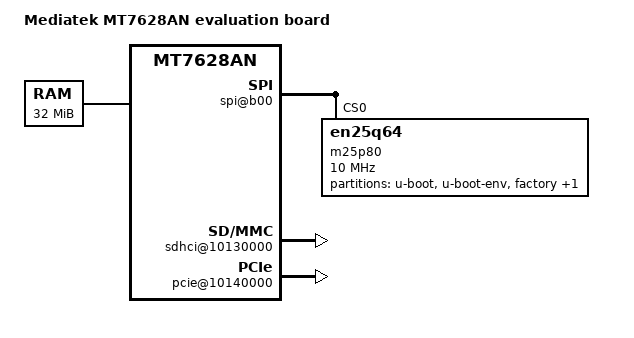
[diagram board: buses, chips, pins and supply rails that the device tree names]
/dts-v1/;

/include/ "mt7628an.dtsi"

/ {
	compatible = "mediatek,mt7628an-eval-board", "mediatek,mt7628an-soc";
	model = "Mediatek MT7628AN evaluation board";

	memory@0 {
		device_type = "memory";
		reg = <0x0 0x2000000>;
	};

	chosen {
		bootargs = "console=ttyS0,57600 init=/init";
	};

	palmbus@10000000 {
		spi@b00 {
			status = "okay";

			m25p80@0 {
				#address-cells = <1>;
				#size-cells = <1>;
				compatible = "en25q64";
				reg = <0 0>;
				linux,modalias = "m25p80", "en25q64";
				spi-max-frequency = <10000000>;
				m25p,chunked-io = <32>;

				partition@0 {
					label = "u-boot";
					reg = <0x0 0x30000>;
					read-only;
				};

				partition@30000 {
					label = "u-boot-env";
					reg = <0x30000 0x10000>;
					read-only;
				};

				factory: partition@40000 {
					label = "factory";
					reg = <0x40000 0x10000>;
					read-only;
				};

				partition@50000 {
					label = "firmware";
					reg = <0x50000 0x7b0000>;
				};
			};
		};
	};

	sdhci@10130000 {
		status = "okay";
	};

	pcie@10140000 {
		status = "okay";
	};
};
